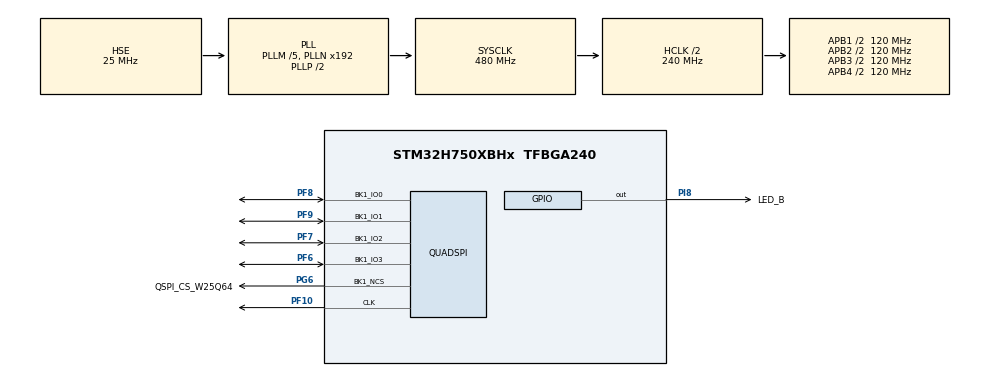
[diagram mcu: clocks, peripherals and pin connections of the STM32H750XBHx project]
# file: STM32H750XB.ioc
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CORTEX_M7.CPU_DCache=Enabled
CORTEX_M7.CPU_ICache=Enabled
CORTEX_M7.default_mode_Activation=0
Mcu.Family=STM32H7
Mcu.Name=STM32H750XBHx
Mcu.Package=TFBGA240
NVIC.PriorityGroup=NVIC_PRIORITYGROUP_4
PF10.GPIO_Speed=GPIO_SPEED_FREQ_VERY_HIGH
PF10.Mode=Single Bank 1
PF10.Signal=QUADSPI_CLK
PF6.GPIO_Speed=GPIO_SPEED_FREQ_VERY_HIGH
PF6.Mode=Single Bank 1
PF6.Signal=QUADSPI_BK1_IO3
PF7.GPIO_Speed=GPIO_SPEED_FREQ_VERY_HIGH
PF7.Mode=Single Bank 1
PF7.Signal=QUADSPI_BK1_IO2
PF8.GPIO_Speed=GPIO_SPEED_FREQ_VERY_HIGH
PF8.Mode=Single Bank 1
PF8.Signal=QUADSPI_BK1_IO0
PF9.GPIO_Speed=GPIO_SPEED_FREQ_VERY_HIGH
PF9.Mode=Single Bank 1
PF9.Signal=QUADSPI_BK1_IO1
PG6.GPIO_Label=QSPI_CS_W25Q64
PG6.GPIO_PuPd=GPIO_PULLUP
PG6.GPIO_Speed=GPIO_SPEED_FREQ_VERY_HIGH
PG6.Mode=Single Bank 1
PG6.Signal=QUADSPI_BK1_NCS
PH0-OSC_IN\ (PH0).Mode=HSE-External-Oscillator
PH0-OSC_IN\ (PH0).Signal=RCC_OSC_IN
PH1-OSC_OUT\ (PH1).Mode=HSE-External-Oscillator
PH1-OSC_OUT\ (PH1).Signal=RCC_OSC_OUT
PI8.GPIO_Label=LED_B
PI8.Signal=GPIO_Output
ProjectManager.HeapSize=0x800
ProjectManager.StackSize=0x800
ProjectManager.TargetToolchain=MDK-ARM V5.27
QUADSPI.ClockMode=QSPI_CLOCK_MODE_0
QUADSPI.ClockPrescaler=0
QUADSPI.FifoThreshold=4
QUADSPI.FlashSize=22
RCC.ADCFreq_Value=50000000
RCC.APB1Freq_Value=120000000
RCC.APB2Freq_Value=120000000
RCC.APB3Freq_Value=120000000
RCC.APB4Freq_Value=120000000
RCC.CortexFreq_Value=480000000
RCC.D1PPRE=RCC_APB3_DIV2
RCC.D2PPRE1=RCC_APB1_DIV2
RCC.D2PPRE2=RCC_APB2_DIV2
RCC.D3PPRE=RCC_APB4_DIV2
RCC.DIVM1=5
RCC.DIVM2=2
RCC.DIVM3=5
RCC.DIVN1=192
RCC.DIVN2=16
RCC.DIVN3=50
RCC.DIVP2=4
RCC.DIVP3=1
RCC.DIVQ1=8
RCC.DIVQ2=1
RCC.DIVQ3=5
RCC.DIVR3=10
RCC.HCLKFreq_Value=240000000
RCC.HPRE=RCC_HCLK_DIV2
RCC.PLL2FRACN=0
RCC.PLLFRACN=0
RCC.PLLSourceVirtual=RCC_PLLSOURCE_HSE
RCC.ProductRev=revV
RCC.QSPICLockSelection=RCC_QSPICLKSOURCE_PLL
RCC.SDMMC1CLockSelection=RCC_SDMMCCLKSOURCE_PLL2
RCC.SPI123CLockSelection=RCC_SPI123CLKSOURCE_PLL2
RCC.SYSCLKFreq_VALUE=480000000
RCC.SYSCLKSource=RCC_SYSCLKSOURCE_PLLCLK
RCC.USBCLockSelection=RCC_USBCLKSOURCE_PLL3
RCC.USBFreq_Value=50000000
board=custom

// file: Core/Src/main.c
/* USER CODE BEGIN Header */
/**
  ******************************************************************************
  * @file           : main.c
  * @brief          : Main program body
  ******************************************************************************
  * @attention
  *
  * Copyright (c) 2023 STMicroelectronics.
  * All rights reserved.
  *
  * This software is licensed under terms that can be found in the LICENSE file
  * in the root directory of this software component.
  * If no LICENSE file comes with this software, it is provided AS-IS.
  *
  ******************************************************************************
  */
/* USER CODE END Header */
#include "main.h"
#include "quadspi.h"
#include "gpio.h"

/* USER CODE BEGIN Includes */
#include "qspi_w25q64.h"
/* USER CODE END Includes */

void SystemClock_Config(void);

/* USER CODE BEGIN 0 */

#define  QSPI_FLASH_SIZE  (8 * 1024 * 1024)  // 8M字节
#define  INTERVAL         (4 * 1024)         // 4K字节
#define  QSPI_BASE_ADDR   0x90000000UL

/*对qspi进行数据校验   每隔4k写一个字节，写整片 ，读整片,最后开启内存映射模式之后再读 */
int data_checkout(void)
{
    uint8_t writeData = 0xAA;  // 写入的数据
    uint8_t readData;          // 用于存储读取的数据
    int8_t status;             // 用于存储函数的返回状态

    // 遍历整个Flash，每隔4K字节写入数据
    for (uint32_t addr = 0; addr < QSPI_FLASH_SIZE; addr += INTERVAL) {
        status = QSPI_W25Qxx_WriteBuffer(&writeData, addr, 1);  // 写入1字节数据
        if (status != QSPI_W25Qxx_OK) {

            return -1;
        }
    }

    // 遍历整个Flash，每隔4K字节读取并验证数据
    for (uint32_t addr = 0; addr < QSPI_FLASH_SIZE; addr += INTERVAL) {
        status = QSPI_W25Qxx_ReadBuffer(&readData, addr, 1);  // 读取1字节数据
        if (status != QSPI_W25Qxx_OK) {

            return -1;
        }

        if (readData != writeData) {

            return -1;
        }
    }

		 // 开启内存映射模式
    status = QSPI_W25Qxx_MemoryMappedMode();
    if (status != QSPI_W25Qxx_OK) {
        return -1;
    }

    // 使用内存映射模式验证数据
    for (uint32_t addr = 0; addr < QSPI_FLASH_SIZE; addr += INTERVAL) {
        readData = *(uint8_t *)(QSPI_BASE_ADDR + addr);
        if (readData != writeData) {
            return -1;
        }
    }

    return 0;

}

/* 验证读写以及内存映射模式 */
void qspi_checkout_wr_and_memorymap(void) {
    volatile int state = 0;

    /* 初始化 */
    if (QSPI_W25Qxx_Init() == QSPI_W25Qxx_OK) {
        if (QSPI_W25Qxx_ChipErase() == QSPI_W25Qxx_OK) {  // 整片擦除
            if (data_checkout() == 0) {
                state = 3;  /* 检验成功 */
            }
						else{
							 state = 4;  /* 校验数据失败 */
						 }
        } else {
            state = 2;   /* 擦除失败 */
        }
    } else {
        state = 1; /* 初始化失败 */
    }
}

/* USER CODE END 0 */

int main(void)
{

  /* Enable I-Cache---------------------------------------------------------*/
  SCB_EnableICache();

  /* Enable D-Cache---------------------------------------------------------*/
  SCB_EnableDCache();

  /* MCU Configuration--------------------------------------------------------*/

  /* Reset of all peripherals, Initializes the Flash interface and the Systick. */
  HAL_Init();

  /* Configure the system clock */
  SystemClock_Config();

  /* Initialize all configured peripherals */
  MX_GPIO_Init();
  MX_QUADSPI_Init();
  /* USER CODE BEGIN 2 */
	qspi_checkout_wr_and_memorymap();

  /* USER CODE END 2 */

  /* Infinite loop */
  while (1)
  {

  }
}

void SystemClock_Config(void)
{
  RCC_OscInitTypeDef RCC_OscInitStruct = {0};
  RCC_ClkInitTypeDef RCC_ClkInitStruct = {0};

  /** Supply configuration update enable
  */
  HAL_PWREx_ConfigSupply(PWR_LDO_SUPPLY);

  /** Configure the main internal regulator output voltage
  */
  __HAL_PWR_VOLTAGESCALING_CONFIG(PWR_REGULATOR_VOLTAGE_SCALE1);

  while(!__HAL_PWR_GET_FLAG(PWR_FLAG_VOSRDY)) {}

  __HAL_RCC_SYSCFG_CLK_ENABLE();
  __HAL_PWR_VOLTAGESCALING_CONFIG(PWR_REGULATOR_VOLTAGE_SCALE0);

  while(!__HAL_PWR_GET_FLAG(PWR_FLAG_VOSRDY)) {}

  /** Initializes the RCC Oscillators according to the specified parameters
  * in the RCC_OscInitTypeDef structure.
  */
  RCC_OscInitStruct.OscillatorType = RCC_OSCILLATORTYPE_HSE;
  RCC_OscInitStruct.HSEState = RCC_HSE_ON;
  RCC_OscInitStruct.PLL.PLLState = RCC_PLL_ON;
  RCC_OscInitStruct.PLL.PLLSource = RCC_PLLSOURCE_HSE;
  RCC_OscInitStruct.PLL.PLLM = 5;
  RCC_OscInitStruct.PLL.PLLN = 192;
  RCC_OscInitStruct.PLL.PLLP = 2;
  RCC_OscInitStruct.PLL.PLLQ = 8;
  RCC_OscInitStruct.PLL.PLLR = 2;
  RCC_OscInitStruct.PLL.PLLRGE = RCC_PLL1VCIRANGE_2;
  RCC_OscInitStruct.PLL.PLLVCOSEL = RCC_PLL1VCOWIDE;
  RCC_OscInitStruct.PLL.PLLFRACN = 0;
  if (HAL_RCC_OscConfig(&RCC_OscInitStruct) != HAL_OK)
  {
    Error_Handler();
  }

  /** Initializes the CPU, AHB and APB buses clocks
  */
  RCC_ClkInitStruct.ClockType = RCC_CLOCKTYPE_HCLK|RCC_CLOCKTYPE_SYSCLK
                              |RCC_CLOCKTYPE_PCLK1|RCC_CLOCKTYPE_PCLK2
                              |RCC_CLOCKTYPE_D3PCLK1|RCC_CLOCKTYPE_D1PCLK1;
  RCC_ClkInitStruct.SYSCLKSource = RCC_SYSCLKSOURCE_PLLCLK;
  RCC_ClkInitStruct.SYSCLKDivider = RCC_SYSCLK_DIV1;
  RCC_ClkInitStruct.AHBCLKDivider = RCC_HCLK_DIV2;
  RCC_ClkInitStruct.APB3CLKDivider = RCC_APB3_DIV2;
  RCC_ClkInitStruct.APB1CLKDivider = RCC_APB1_DIV2;
  RCC_ClkInitStruct.APB2CLKDivider = RCC_APB2_DIV2;
  RCC_ClkInitStruct.APB4CLKDivider = RCC_APB4_DIV2;

  if (HAL_RCC_ClockConfig(&RCC_ClkInitStruct, FLASH_LATENCY_4) != HAL_OK)
  {
    Error_Handler();
  }
}

void Error_Handler(void)
{
  __disable_irq();
  while (1)
  {
  }
}
